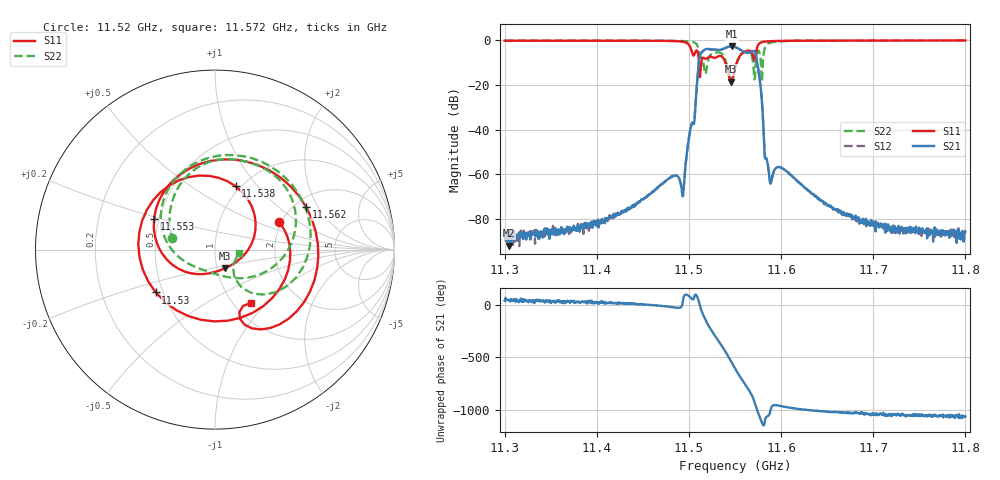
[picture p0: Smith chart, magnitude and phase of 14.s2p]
# Hz S DB R 50
! Planar, S50244, 24171007, 25.4.1/6
! Date: 15.10.2025 10:29:29
! Data: Format (Calibration Info)
! Freq	S11:dB/Ang(F2)	S21:dB/Ang(F2)	S12:dB/Ang(F2)	S22:dB/Ang(F2)
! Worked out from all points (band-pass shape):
!   1001 points, 11.3 GHz to 11.8 GHz, reference 50 ohm
!   highest |S21| = -2.86 dB at 11.546 GHz (marker M1); lowest = -91.9 dB at 11.305 GHz (marker M2)
!   |S21| within 3 dB of the highest: 11.513 GHz to 11.572 GHz (58.78 MHz wide, 0.509 % of centre)
!   lowest |S11| = -18.6 dB at 11.546 GHz (marker M3), VSWR 1.27, Z = 54.5 - j11.6 ohm
!   |S11| at or under -10 dB: 11.51091 GHz to 11.51347 GHz (2.555 MHz wide, 0.0222 % of centre); 11.53947 GHz to 11.55194 GHz (12.47 MHz wide, 0.108 % of centre)
!   |S22| runs from -18.6 to -0.2 dB; largest |S21 - S12| = 0.015
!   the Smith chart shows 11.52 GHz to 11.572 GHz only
!   S11 on the Smith chart (normalised r, x): 11.52 GHz: 1.94, +0.70; 11.53 GHz: 0.46, -0.26; 11.538 GHz: 0.95, +0.78; 11.553 GHz: 0.47, +0.19; 11.562 GHz: 2.29, +1.59; 11.572 GHz: 1.20, -0.82
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1.13e10  -0.32 145.0  -86.82 42.4  -88.17 43.0  -0.31 143.3
1.13045e10  -0.32 144.2  -91.91 48.2  -86.85 33.9  -0.31 142.5
1.13835e10  -0.33 126.4  -83.18 34.0  -84.22 29.3  -0.32 126.7
1.1467e10  -0.39 85.8  -65.69 -5.9  -65.84 -5.2  -0.34 95.5
1.14935e10  -0.81 33.6  -69.56 37.9  -69.88 38.4  -0.49 68.3
1.1502e10  -3.67 -50.7  -38.99 71.9  -39.02 73.8  -0.74 48.6
1.15055e10  -6.81 176.9  -37.48 69.3  -37.25 70.2  -1.06 34.5
1.1512e10  -16.61 51.2  -7.07 -6.7  -6.99 -6.9  -7.40 -4.5
1.15195e10  -8.22 23.3  -3.99 -167.4  -4.16 -167.9  -12.12 165.5
1.15295e10  -7.80 -144.2  -4.36 49.5  -4.27 50.6  -5.61 64.7
1.1538e10  -8.60 72.1  -3.84 -61.6  -3.78 -62.2  -7.45 3.8
1.15455e10  -18.57 -62.6  -2.86 -174.9  -2.91 -175.1  -17.56 -94.2
1.15465e10  -18.23 -86.4  -2.86 169.3  -2.90 169.2  -17.79 -113.9
1.155e10  -12.76 -152.5  -3.11 114.5  -3.13 114.5  -13.19 -172.9
1.15535e10  -8.40 153.3  -3.84 62.1  -3.85 62.0  -8.57 143.3
1.1562e10  -5.03 25.2  -5.57 -52.2  -5.66 -52.0  -5.04 51.0
1.15715e10  -8.92 -55.9  -5.25 142.3  -5.30 142.7  -17.43 -7.1
1.1588e10  -0.55 -139.5  -63.45 53.3  -63.37 53.7  -1.22 -97.1
1.1603e10  -0.38 -169.9  -57.68 108.0  -57.70 108.1  -0.51 -154.3
1.16335e10  -0.31 161.6  -68.77 72.6  -68.57 73.6  -0.32 165.6
1.1717e10  -0.25 130.2  -83.28 38.1  -83.37 24.9  -0.24 130.0
1.18e10  -0.22 112.8  -85.74 13.0  -86.07 12.0  -0.22 112.4
